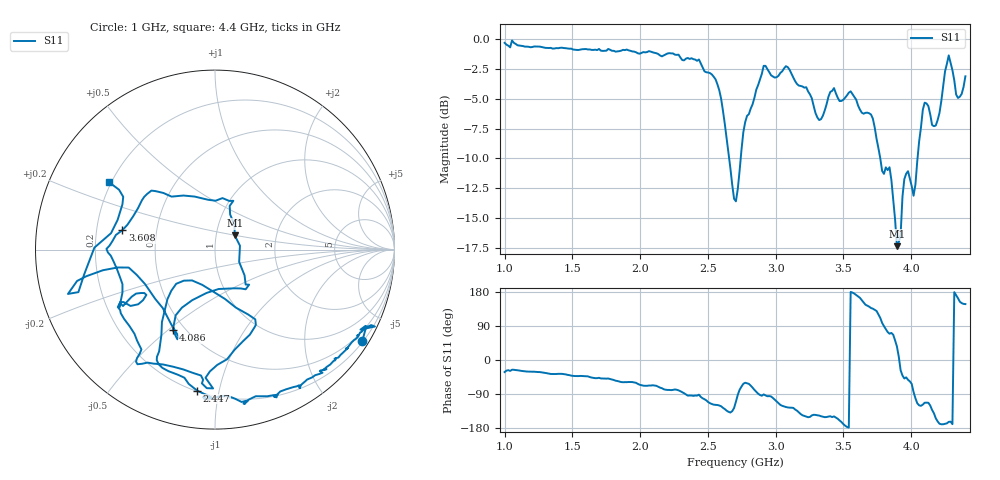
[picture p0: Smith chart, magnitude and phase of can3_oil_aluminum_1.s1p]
# MHz S MA R 50
!  freq  S11
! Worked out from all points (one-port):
!   250 points, 1 GHz to 4.4 GHz, reference 50 ohm
!   lowest |S11| = -17.4 dB at 3.895 GHz (marker M1), VSWR 1.31, Z = 61.5 + j9.87 ohm
!   |S11| at or under -10 dB: 2.657 GHz to 2.742 GHz (84.82 MHz wide, 3.14 % of centre); 3.772 GHz to 4.047 GHz (274.7 MHz wide, 7.03 % of centre)
!   S11 on the Smith chart (normalised r, x): 1 GHz: 0.23, -3.49; 2.447 GHz: 0.20, -0.86; 3.608 GHz: 0.31, +0.09; 4.086 GHz: 0.43, -0.52; 4.4 GHz: 0.19, +0.28
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1000  0.9661 -31.8
1436.948  0.9189 -37.3
1860.241  0.8959 -58.2
2283.534  0.8617 -80.1
2447.39  0.7914 -97.3
2556.627  0.6789 -118.4
2665.863  0.2879 -138.6
2706.827  0.2089 -110.0
2775.1  0.4488 -60.0
2911.647  0.7735 -90.8
3075.502  0.771 -124.1
3130.12  0.691 -126.4
3239.357  0.6038 -151.0
3321.285  0.4581 -146.6
3430.522  0.6238 -148.8
3553.414  0.6047 179.6
3608.032  0.5271 168.2
3703.614  0.4833 137.2
3840.161  0.2902 69.4
3894.779  0.1354 35.6
3976.707  0.2794 -52.3
4017.671  0.2205 -84.7
4085.944  0.5063 -117.7
4126.908  0.524 -112.9
4208.835  0.4908 -168.2
4277.108  0.8557 -163.2
4359.036  0.5741 153.9
4400  0.6992 147.5
